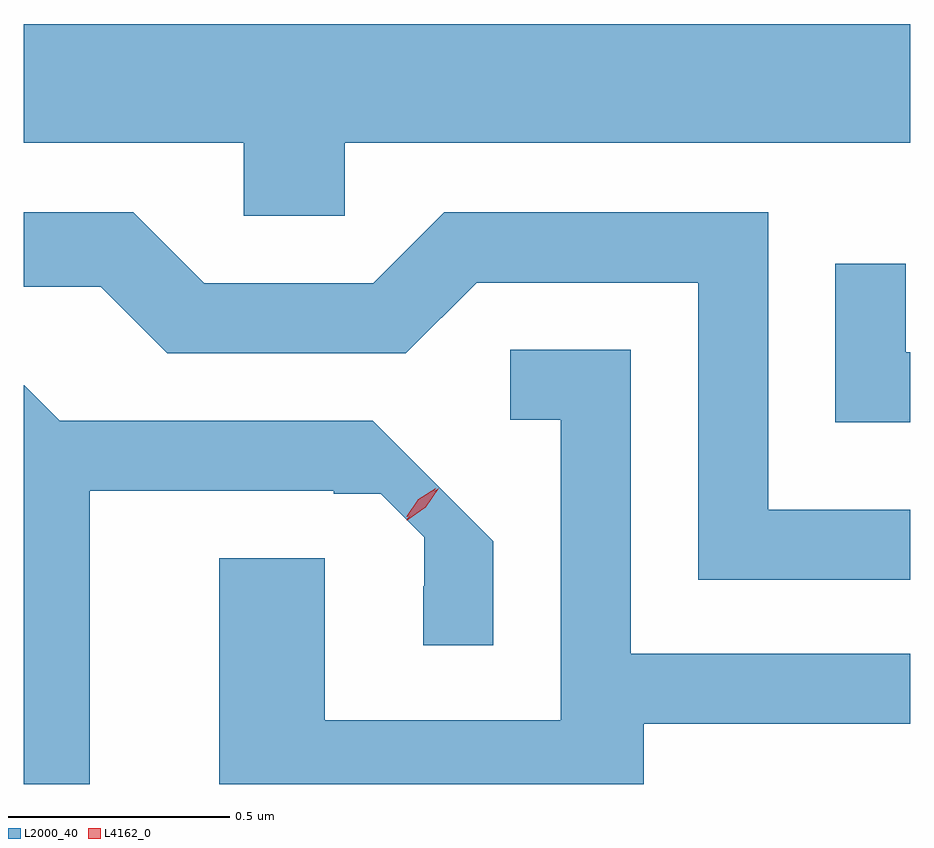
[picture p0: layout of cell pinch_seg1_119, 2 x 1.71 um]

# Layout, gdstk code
import gdstk
lib = gdstk.Library(unit=1e-6, precision=1e-09)
def P(c, l, *ps):  # polygons
    for p in ps: c.add(gdstk.Polygon(p, *l))
L2000_40 = (2000, 40)
L4162_0 = (4162, 0)

pinch_seg1_119 = lib.new_cell('pinch_seg1_119')
P(pinch_seg1_119, L2000_40, [(1031.554,844.076),(1032.83,844.076),(1032.83,844.344),(1030.83,844.344),(1030.83,844.076),(1031.326,844.076),(1031.326,843.911),(1031.554,843.911)],
  [(1032.83,843.249),(1032.509,843.249),(1032.509,843.919),(1031.779,843.919),(1031.619,843.759),(1031.237,843.759),(1031.077,843.919),(1030.83,843.919),(1030.83,843.751),(1031.004,843.751),(1031.154,843.601),(1031.692,843.601),(1031.852,843.761),(1032.351,843.761),(1032.351,843.091),(1032.83,843.091)],
  [(1032.83,843.604),(1032.819,843.604),(1032.819,843.803),(1032.661,843.803),(1032.661,843.446),(1032.83,843.446)],
  [(1032.229,842.766),(1032.83,842.766),(1032.83,842.924),(1032.199,842.924),(1032.199,843.609),(1031.928,843.609),(1031.928,843.451),(1032.041,843.451),(1032.041,842.774),(1031.509,842.774),(1031.509,843.139),(1031.271,843.139),(1031.271,842.63),(1032.229,842.63)],
  [(1030.979,843.291),(1031.53,843.291),(1031.53,843.285),(1031.635,843.285),(1031.734,843.186),(1031.734,843.076),(1031.731,843.076),(1031.731,842.943),(1031.889,842.943),(1031.889,843.178),(1031.618,843.449),(1030.911,843.449),(1030.832,843.529),(1030.83,843.529),(1030.83,842.63),(1030.979,842.63)])
P(pinch_seg1_119, L4162_0, [(1031.694,843.233),(1031.694,843.234),(1031.72,843.272),(1031.759,843.297),(1031.76,843.297),(1031.76,843.297),(1031.734,843.258),(1031.695,843.233)],
  [(1031.694,843.225),(1031.694,843.226),(1031.723,843.268),(1031.766,843.297),(1031.766,843.297),(1031.766,843.297),(1031.737,843.254),(1031.695,843.225)])

lib.write_gds('pinch_seg1_119.gds')
